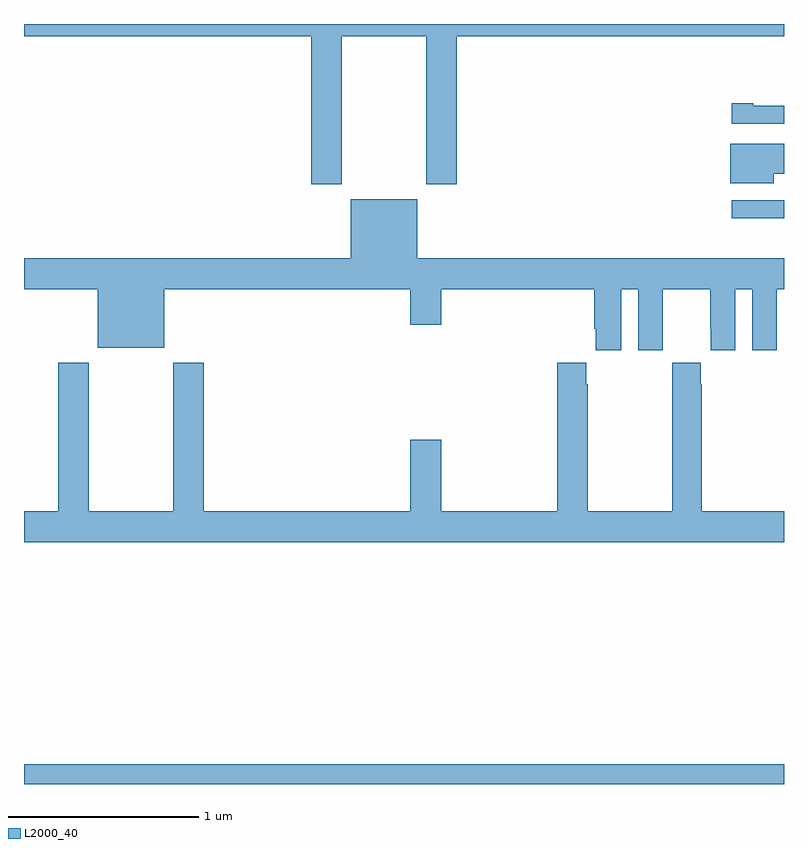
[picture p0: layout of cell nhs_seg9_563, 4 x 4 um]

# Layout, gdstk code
import gdstk
lib = gdstk.Library(unit=1e-6, precision=1e-09)
def R(c, l, rs):  # rectangles x0, y0, x1, y1
    for r in rs: c.add(gdstk.rectangle(r[:2], r[2:], *l))
def P(c, l, *ps):  # polygons
    for p in ps: c.add(gdstk.Polygon(p, *l))
L2000_40 = (2000, 40)

nhs_seg9_563 = lib.new_cell('nhs_seg9_563')
R(nhs_seg9_563, L2000_40, [(139,1176.5,143,1176.604), (142.725,1179.477,143,1179.573)])
P(nhs_seg9_563, L2000_40, [(139,1180.436),(140.513,1180.436),(140.513,1179.657),(140.673,1179.657),(140.673,1180.436),(141.118,1180.436),(141.118,1179.657),(141.278,1179.657),(141.278,1180.436),(143,1180.436),(143,1180.5),(139,1180.5)],
  [(143,1180.071),(142.837,1180.071),(142.837,1180.084),(142.725,1180.084),(142.725,1179.975),(143,1179.975)],
  [(142.945,1179.713),(143,1179.713),(143,1179.871),(142.718,1179.871),(142.718,1179.662),(142.945,1179.662)],
  [(142.144,1179.104),(142.232,1179.104),(142.232,1178.784),(142.362,1178.784),(142.362,1178.896),(142.363,1178.896),(142.363,1179.104),(142.613,1179.104),(142.613,1178.896),(142.614,1178.896),(142.614,1178.784),(142.744,1178.784),(142.744,1179.104),(142.832,1179.104),(142.832,1178.784),(142.962,1178.784),(142.962,1178.896),(142.963,1178.896),(142.963,1179.104),(143,1179.104),(143,1179.268),(141.07,1179.268),(141.07,1179.577),(140.72,1179.577),(140.72,1179.268),(139,1179.268),(139,1179.104),(139.388,1179.104),(139.388,1178.795),(139.738,1178.795),(139.738,1179.104),(141.032,1179.104),(141.032,1178.916),(141.196,1178.916),(141.196,1179.104),(142.001,1179.104),(142.001,1178.896),(142.01,1178.896),(142.01,1178.784),(142.144,1178.784)],
  [(143,1177.936),(142.566,1177.936),(142.566,1178.603),(142.563,1178.603),(142.563,1178.716),(142.413,1178.716),(142.413,1178.603),(142.411,1178.603),(142.411,1177.936),(141.966,1177.936),(141.966,1178.603),(141.959,1178.603),(141.959,1178.716),(141.806,1178.716),(141.806,1177.936),(141.196,1177.936),(141.196,1178.311),(141.032,1178.311),(141.032,1177.936),(139.946,1177.936),(139.946,1178.716),(139.786,1178.716),(139.786,1177.936),(139.341,1177.936),(139.341,1178.716),(139.181,1178.716),(139.181,1177.936),(139,1177.936),(139,1177.772),(143,1177.772)])

lib.write_gds('nhs_seg9_563.gds')
